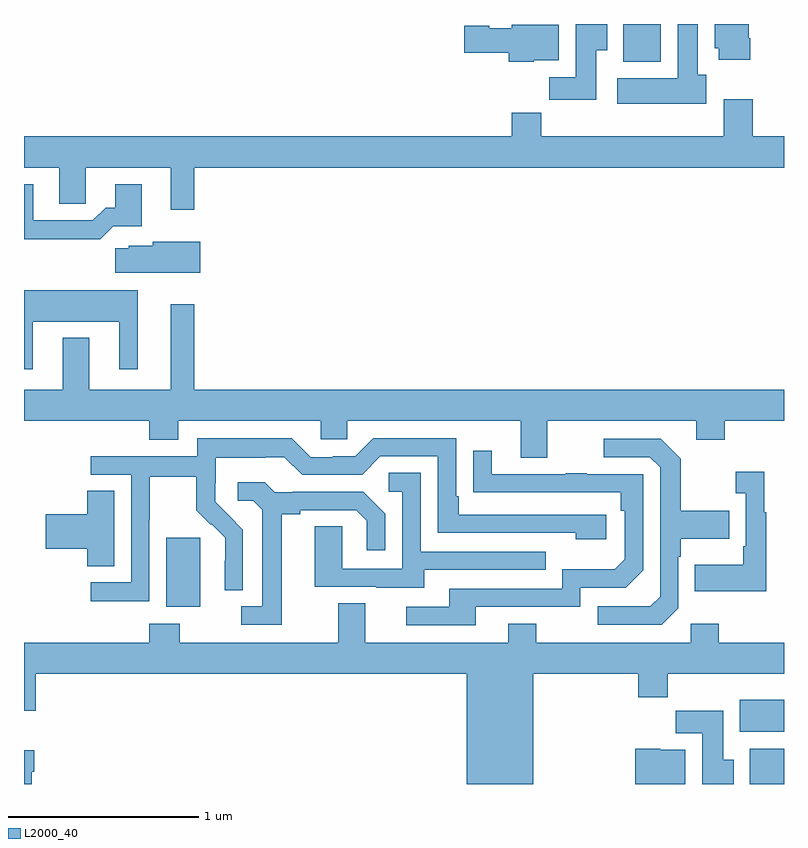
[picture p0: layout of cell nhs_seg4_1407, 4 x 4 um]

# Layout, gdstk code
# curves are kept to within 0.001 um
import gdstk
lib = gdstk.Library(unit=1e-6, precision=1e-09)
def R(c, l, rs):  # rectangles x0, y0, x1, y1
    for r in rs: c.add(gdstk.rectangle(r[:2], r[2:], *l))
def P(c, l, *ps):  # polygons
    for p in ps: c.add(gdstk.Polygon(p, *l))
L2000_40 = (2000, 40)

nhs_seg4_1407 = lib.new_cell('nhs_seg4_1407')
R(nhs_seg4_1407, L2000_40, [(186.821,802.9,187,803.086), (186.767,803.174,187,803.344), (183.749,803.834,183.928,804.195), (186.155,806.702,186.352,806.9)])
P(nhs_seg4_1407, L2000_40, [(186.822,806.824),(186.814,806.824),(186.814,806.9),(186.635,806.9),(186.635,806.772),(186.656,806.772),(186.656,806.712),(186.822,806.712)],
  [(186.013,806.761),(186.07,806.761),(186.07,806.9),(185.903,806.9),(185.903,806.62),(185.764,806.62),(185.764,806.502),(186.013,806.502)],
  [(186.592,806.634),(186.547,806.634),(186.547,806.9),(186.44,806.9),(186.44,806.614),(186.123,806.614),(186.123,806.48),(186.592,806.48)],
  [(185.682,806.708),(185.815,806.708),(185.815,806.896),(185.568,806.896),(185.568,806.878),(185.448,806.878),(185.448,806.891),(185.316,806.891),(185.316,806.749),(185.552,806.749),(185.552,806.702),(185.682,806.702)],
  [(183.895,806.144),(187,806.144),(187,806.308),(186.836,806.308),(186.836,806.503),(186.683,806.503),(186.683,806.308),(185.723,806.308),(185.723,806.432),(185.567,806.432),(185.567,806.308),(183,806.308),(183,806.144),(183.185,806.144),(183.185,805.954),(183.324,805.954),(183.324,806.144),(183.773,806.144),(183.773,805.923),(183.895,805.923)],
  [(183.471,805.836),(183.619,805.836),(183.619,806.056),(183.479,806.056),(183.479,805.933),(183.43,805.933),(183.363,805.866),(183.049,805.866),(183.049,806.056),(183,806.056),(183,805.768),(183.145,805.768),(183.145,805.766),(183.401,805.766)],
  [(183.928,805.753),(183.678,805.753),(183.678,805.732),(183.552,805.732),(183.552,805.721),(183.48,805.721),(183.48,805.592),(183.928,805.592)],
  [(183.046,805.334),(183.5,805.334),(183.5,805.083),(183.598,805.083),(183.598,805.498),(183,805.498),(183,805.083),(183.046,805.083)],
  [(183.203,805.249),(183.203,804.976),(183,804.976),(183,804.812),(183.659,804.812),(183.659,804.713),(183.811,804.713),(183.811,804.812),(184.563,804.812),(184.563,804.714),(184.701,804.714),(184.701,804.812),(185.615,804.812),(185.615,804.618),(185.755,804.618),(185.755,804.812),(186.539,804.812),(186.539,804.713),(186.687,804.713),(186.687,804.812),(187,804.812),(187,804.976),(183.895,804.976),(183.895,805.426),(183.773,805.426),(183.773,804.976),(183.343,804.976),(183.343,805.249)],
  [(183.66,804.292),(183.663,804.292),(183.663,804.516),(183.907,804.516),(183.907,804.341),(183.984,804.264),(183.987,804.267),(184.058,804.197),(184.058,804.074),(184.056,804.074),(184.056,803.92),(184.152,803.92),(184.152,804.238),(184.006,804.386),(184.006,804.483),(184.008,804.483),(184.008,804.617),(184.271,804.617),(184.271,804.621),(184.371,804.621),(184.464,804.528),(184.779,804.528),(184.875,804.624),(185.178,804.624),(185.178,804.222),(185.903,804.222),(185.903,804.188),(186.064,804.188),(186.064,804.318),(185.287,804.318),(185.287,804.415),(185.274,804.415),(185.274,804.72),(184.839,804.72),(184.743,804.624),(184.625,804.624),(184.625,804.621),(184.509,804.621),(184.409,804.721),(183.912,804.721),(183.912,804.624),(183.351,804.624),(183.351,804.528),(183.564,804.528),(183.564,803.961),(183.351,803.961),(183.351,803.863),(183.66,803.863)],
  [(186.444,803.826),(186.444,804.095),(186.457,804.095),(186.457,804.191),(186.713,804.191),(186.713,804.339),(186.457,804.339),(186.457,804.611),(186.351,804.717),(186.051,804.717),(186.051,804.621),(186.294,804.621),(186.348,804.567),(186.348,803.886),(186.297,803.835),(186.021,803.835),(186.021,803.739),(186.357,803.739)],
  [(185.377,803.832),(185.928,803.832),(185.928,803.934),(186.168,803.934),(186.258,804.024),(186.258,804.531),(185.963,804.531),(185.963,804.536),(185.851,804.536),(185.851,804.531),(185.461,804.531),(185.461,804.655),(185.365,804.655),(185.365,804.436),(186.142,804.435),(186.142,804.338),(186.162,804.338),(186.162,804.084),(186.109,804.031),(185.832,804.031),(185.832,803.928),(185.237,803.928),(185.237,803.832),(185.013,803.832),(185.013,803.736),(185.377,803.736)],
  [(186.907,804.331),(186.895,804.331),(186.895,804.544),(186.747,804.544),(186.747,804.431),(186.798,804.431),(186.798,804.151),(186.786,804.151),(186.786,804.055),(186.529,804.055),(186.529,803.915),(186.907,803.915)],
  [(185.107,804.027),(185.747,804.027),(185.747,804.123),(185.088,804.123),(185.088,804.539),(184.92,804.539),(184.92,804.438),(184.992,804.438),(184.992,804.033),(184.674,804.033),(184.674,804.257),(184.529,804.257),(184.529,803.937),(184.853,803.937),(184.853,803.933),(185.107,803.933)],
  [(184.357,804.32),(184.453,804.32),(184.453,804.342),(184.748,804.342),(184.805,804.285),(184.805,804.129),(184.902,804.129),(184.902,804.322),(184.786,804.438),(184.414,804.438),(184.414,804.435),(184.32,804.435),(184.268,804.487),(184.125,804.487),(184.125,804.39),(184.206,804.39),(184.253,804.343),(184.253,803.835),(184.143,803.835),(184.143,803.739),(184.357,803.739)],
  [(183.475,804.443),(183.332,804.443),(183.332,804.32),(183.114,804.32),(183.114,804.137),(183.332,804.137),(183.332,804.046),(183.475,804.046)],
  [(185.68,803.48),(186.233,803.48),(186.233,803.356),(186.389,803.356),(186.389,803.48),(187,803.48),(187,803.644),(186.657,803.644),(186.657,803.743),(186.51,803.743),(186.51,803.644),(185.697,803.644),(185.697,803.743),(185.549,803.743),(185.549,803.644),(184.795,803.644),(184.795,803.852),(184.655,803.852),(184.655,803.644),(183.819,803.644),(183.819,803.743),(183.659,803.743),(183.659,803.644),(183,803.644),(183,803.286),(183.062,803.286),(183.062,803.48),(185.33,803.48),(185.33,802.9),(185.68,802.9)],
  [(186.736,803.028),(186.679,803.028),(186.679,803.286),(186.43,803.286),(186.43,803.168),(186.569,803.168),(186.569,802.9),(186.736,802.9)],
  [(186.481,803.08),(186.348,803.08),(186.348,803.086),(186.218,803.086),(186.218,802.9),(186.481,802.9)],
  [(183.04,802.964),(183.053,802.964),(183.053,803.077),(183,803.077),(183,802.9),(183.04,802.9)])

lib.write_gds('nhs_seg4_1407.gds')
